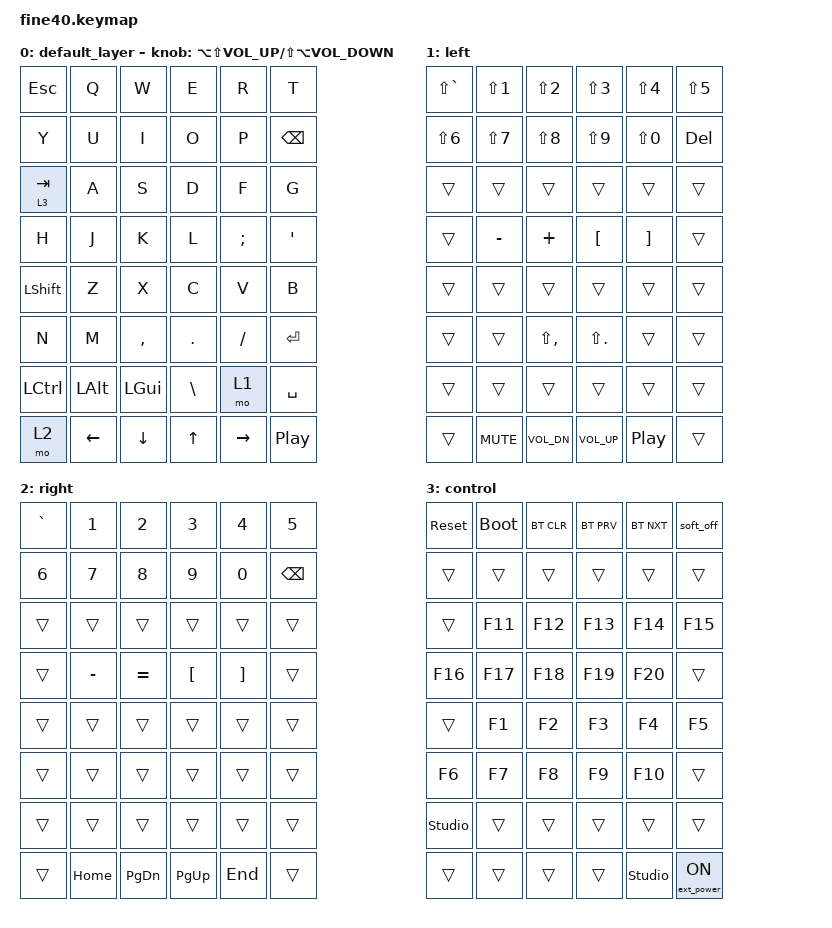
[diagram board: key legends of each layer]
/*
 * Aidan Smith (2021)
 *
 * SPDX-License-Identifier: MIT
 */

#include <behaviors.dtsi>
#include <dt-bindings/zmk/bt.h>
#include <dt-bindings/zmk/ext_power.h>
#include <dt-bindings/zmk/keys.h>

/ {
    keymap {
        compatible = "zmk,keymap";

        default_layer {
            bindings = <
&kp ESC    &kp Q         &kp W         &kp E         &kp R      &kp T
&kp Y      &kp U         &kp I         &kp O         &kp P      &kp BSPC
&lt 3 TAB  &kp A         &kp S         &kp D         &kp F      &kp G
&kp H      &kp J         &kp K         &kp L         &kp SEMI   &kp SQT
&kp LSHFT  &kp Z         &kp X         &kp C         &kp V      &kp B
&kp N      &kp M         &kp COMMA     &kp DOT       &kp FSLH   &kp RET
&kp LCTRL  &kp LEFT_ALT  &kp LEFT_GUI  &kp BSLH      &mo 1      &kp SPACE
&mo 2      &kp LEFT      &kp DOWN      &kp UP_ARROW  &kp RIGHT  &kp C_PP
            >;

            sensor-bindings = <&inc_dec_kp LA(LS(C_VOLUME_UP)) LS(LA(C_VOLUME_DOWN))>;
        };

        left {
            bindings = <
&kp LS(GRAVE)  &kp LS(N1)  &kp LS(N2)     &kp LS(N3)    &kp LS(N4)  &kp LS(N5)
&kp LS(N6)     &kp LS(N7)  &kp LS(N8)     &kp LS(N9)    &kp LS(N0)  &kp DEL
&trans         &trans      &trans         &trans        &trans      &trans
&trans         &kp MINUS   &kp PLUS       &kp LBKT      &kp RBKT    &trans
&trans         &trans      &trans         &trans        &trans      &trans
&trans         &trans      &kp LS(COMMA)  &kp LS(DOT)   &trans      &trans
&trans         &trans      &trans         &trans        &trans      &trans
&trans         &kp C_MUTE  &kp C_VOL_DN   &kp C_VOL_UP  &kp C_PP    &trans
            >;
        };

        right {
            bindings = <
&kp GRAVE  &kp N1     &kp N2     &kp N3            &kp N4             &kp N5
&kp N6     &kp N7     &kp N8     &kp N9            &kp N0             &kp BSPC
&trans     &trans     &trans     &trans            &trans             &trans
&trans     &kp MINUS  &kp EQUAL  &kp LEFT_BRACKET  &kp RIGHT_BRACKET  &trans
&trans     &trans     &trans     &trans            &trans             &trans
&trans     &trans     &trans     &trans            &trans             &trans
&trans     &trans     &trans     &trans            &trans             &trans
&trans     &kp HOME   &kp PG_DN  &kp PG_UP         &kp END            &trans
            >;
        };

        control {
            bindings = <
&sys_reset      &bootloader  &bt BT_CLR  &bt BT_PRV  &bt BT_NXT      &soft_off
&trans          &trans       &trans      &trans      &trans          &trans
&trans          &kp F11      &kp F12     &kp F13     &kp F14         &kp F15
&kp F16         &kp F17      &kp F18     &kp F19     &kp F20         &trans
&trans          &kp F1       &kp F2      &kp F3      &kp F4          &kp F5
&kp F6          &kp F7       &kp F8      &kp F9      &kp F10         &trans
&studio_unlock  &trans       &trans      &trans      &trans          &trans
&trans          &trans       &trans      &trans      &studio_unlock  &ext_power EP_ON
            >;
        };
    };
};
